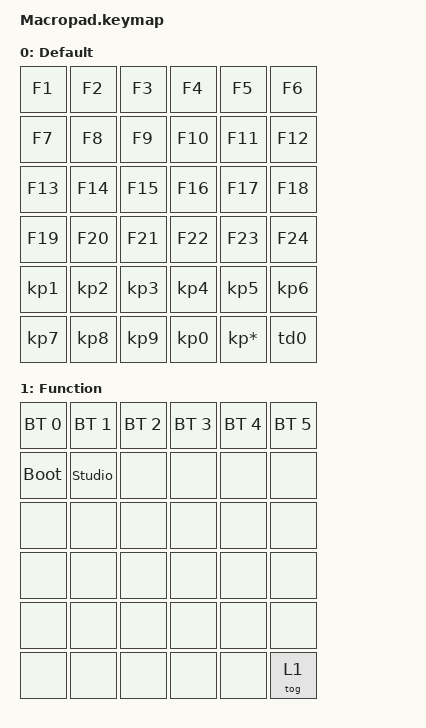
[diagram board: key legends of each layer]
#include <behaviors.dtsi>
#include <dt-bindings/zmk/keys.h>
#include <dt-bindings/zmk/bt.h>

/ {
    behaviors {
        td0: tap_dance_0 {
            compatible = "zmk,behavior-tap-dance";
            #binding-cells = <0>;
            tapping-term-ms = <135>;
            bindings = <&kp KP_DOT>, <&tog 1>;
        };
    };

    keymap {
        compatible = "zmk,keymap";

        default_layer {
            display-name = "Default";

            bindings = <
                    &kp F1   &kp F2   &kp F3   &kp F4   &kp F5   &kp F6
                    &kp F7   &kp F8   &kp F9   &kp F10  &kp F11  &kp F12
                    &kp F13  &kp F14  &kp F15  &kp F16  &kp F17  &kp F18
                    &kp F19  &kp F20  &kp F21  &kp F22  &kp F23  &kp F24
                    &kp KP_1 &kp KP_2 &kp KP_3 &kp KP_4 &kp KP_5 &kp KP_6
                    &kp KP_7 &kp KP_8 &kp KP_9 &kp KP_0 &kp KP_ASTERISK &td0
            >;
        };

        function_layer {
            display-name = "Function";

            bindings =<
                &bt BT_SEL 0 &bt BT_SEL 1   &bt BT_SEL 2 &bt BT_SEL 3 &bt BT_SEL 4 &bt BT_SEL 5
                &bootloader  &studio_unlock &none        &none        &none        &none
                &none        &none          &none        &none        &none        &none
                &none        &none          &none        &none        &none        &none
                &none        &none          &none        &none        &none        &none
                &none        &none          &none        &none        &none        &tog 1
            >;
        };
    };
};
